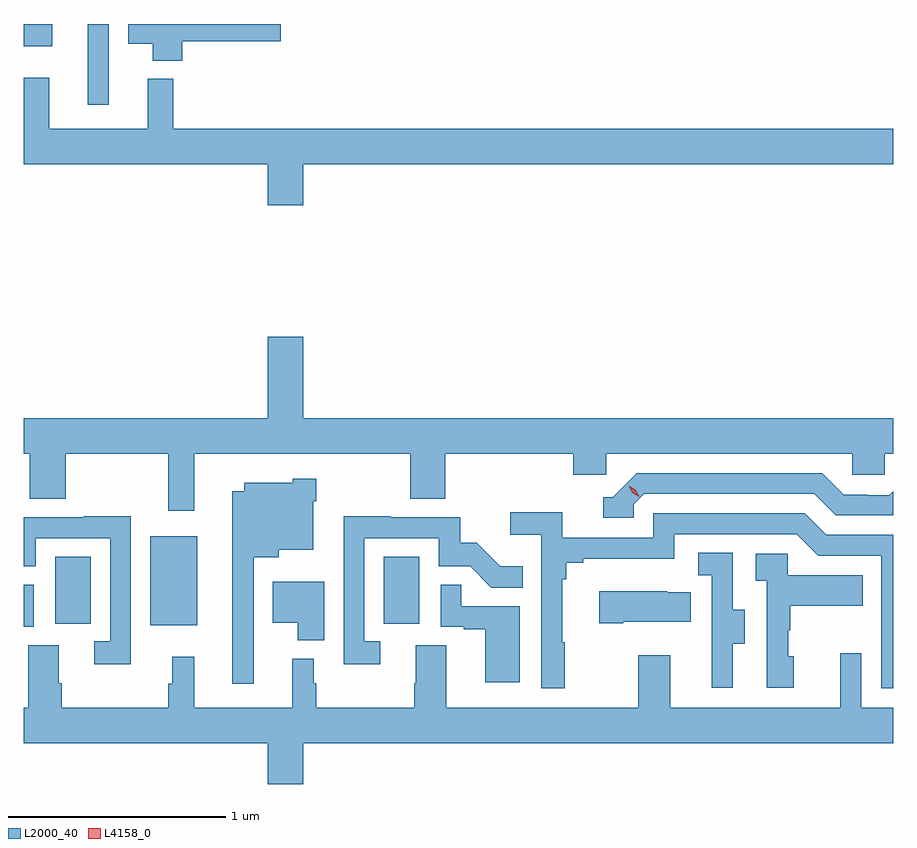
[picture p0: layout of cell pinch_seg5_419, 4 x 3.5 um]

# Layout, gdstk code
import gdstk
lib = gdstk.Library(unit=1e-6, precision=1e-09)
def R(c, l, rs):  # rectangles x0, y0, x1, y1
    for r in rs: c.add(gdstk.rectangle(r[:2], r[2:], *l))
def P(c, l, *ps):  # polygons
    for p in ps: c.add(gdstk.Polygon(p, *l))
L2000_40 = (2000, 40)
L4158_0 = (4158, 0)

pinch_seg5_419 = lib.new_cell('pinch_seg5_419')
R(pinch_seg5_419, L2000_40, [(955.094,859.959,955.14,860.153), (955.676,859.967,955.891,860.377), (955.238,859.974,955.402,860.281), (956.75,859.974,956.914,860.281), (955.388,862.362,955.485,862.733), (955.094,862.631,955.225,862.733)])
P(pinch_seg5_419, L2000_40, [(955.823,862.654),(956.275,862.654),(956.275,862.733),(955.574,862.733),(955.574,862.643),(955.688,862.643),(955.688,862.565),(955.823,862.565)],
  [(956.38,862.088),(959.094,862.088),(959.094,862.252),(955.781,862.252),(955.781,862.48),(955.664,862.48),(955.664,862.252),(955.211,862.252),(955.211,862.486),(955.094,862.486),(955.094,862.088),(956.216,862.088),(956.216,861.9),(956.38,861.9)],
  [(955.878,860.756),(956.872,860.756),(956.872,860.548),(957.032,860.548),(957.032,860.756),(957.623,860.756),(957.623,860.658),(957.774,860.658),(957.774,860.756),(958.905,860.756),(958.905,860.658),(959.055,860.658),(959.055,860.756),(959.094,860.756),(959.094,860.92),(956.38,860.92),(956.38,861.295),(956.216,861.295),(956.216,860.92),(955.094,860.92),(955.094,860.756),(955.121,860.756),(955.121,860.548),(955.286,860.548),(955.286,860.756),(955.759,860.756),(955.759,860.493),(955.878,860.493)],
  [(957.9,860.523),(957.948,860.571),(958.731,860.571),(958.83,860.472),(959.094,860.472),(959.094,860.582),(959.077,860.565),(958.974,860.565),(958.974,860.568),(958.867,860.568),(958.768,860.667),(957.915,860.667),(957.804,860.556),(957.761,860.556),(957.761,860.46),(957.9,860.46)],
  [(956.151,860.279),(956.266,860.279),(956.266,860.315),(956.425,860.315),(956.425,860.537),(956.439,860.537),(956.439,860.641),(956.331,860.641),(956.331,860.623),(956.108,860.623),(956.108,860.584),(956.054,860.584),(956.054,859.698),(956.151,859.698)],
  [(957.583,859.889),(957.571,859.889),(957.571,860.177),(957.59,860.177),(957.59,860.254),(957.667,860.254),(957.667,860.273),(958.086,860.273),(958.086,860.385),(958.65,860.385),(958.749,860.286),(959.04,860.286),(959.04,859.677),(959.094,859.677),(959.094,860.382),(958.786,860.382),(958.687,860.481),(957.99,860.481),(957.99,860.37),(957.572,860.37),(957.572,860.486),(957.333,860.486),(957.333,860.384),(957.474,860.384),(957.474,859.677),(957.583,859.677)],
  [(955.587,860.468),(955.369,860.468),(955.369,860.463),(955.094,860.463),(955.094,860.238),(955.149,860.238),(955.149,860.367),(955.491,860.367),(955.491,859.893),(955.419,859.893),(955.419,859.788),(955.587,859.788)],
  [(956.734,859.893),(956.661,859.893),(956.661,860.367),(957.003,860.367),(957.003,860.238),(957.147,860.238),(957.245,860.14),(957.389,860.14),(957.389,860.239),(957.285,860.239),(957.178,860.346),(957.102,860.346),(957.102,860.463),(956.783,860.463),(956.783,860.468),(956.565,860.468),(956.565,859.788),(956.734,859.788)],
  [(958.357,859.882),(958.411,859.882),(958.411,860.037),(958.356,860.037),(958.356,860.3),(958.197,860.3),(958.197,860.197),(958.26,860.197),(958.26,859.893),(958.259,859.893),(958.259,859.68),(958.357,859.68)],
  [(958.636,859.824),(958.611,859.824),(958.611,859.943),(958.621,859.943),(958.621,860.057),(958.955,860.057),(958.955,860.197),(958.608,860.197),(958.608,860.295),(958.461,860.295),(958.461,860.171),(958.512,860.171),(958.512,859.68),(958.636,859.68)],
  [(956.476,860.167),(956.24,860.167),(956.24,859.979),(956.354,859.979),(956.354,859.898),(956.476,859.898)],
  [(957.376,860.055),(957.107,860.055),(957.107,860.153),(957.012,860.153),(957.012,859.959),(957.119,859.959),(957.119,859.947),(957.218,859.947),(957.218,859.704),(957.376,859.704)],
  [(957.853,859.982),(958.163,859.982),(958.163,860.119),(958.055,860.119),(958.055,860.122),(957.741,860.122),(957.741,859.975),(957.853,859.975)],
  [(955.115,859.874),(955.115,859.588),(955.094,859.588),(955.094,859.424),(956.216,859.424),(956.216,859.236),(956.38,859.236),(956.38,859.424),(959.094,859.424),(959.094,859.588),(958.947,859.588),(958.947,859.837),(958.85,859.837),(958.85,859.588),(958.069,859.588),(958.069,859.828),(957.922,859.828),(957.922,859.588),(957.037,859.588),(957.037,859.874),(956.897,859.874),(956.897,859.7),(956.89,859.7),(956.89,859.588),(956.44,859.588),(956.44,859.7),(956.428,859.7),(956.428,859.813),(956.33,859.813),(956.33,859.588),(955.877,859.588),(955.877,859.822),(955.778,859.822),(955.778,859.697),(955.759,859.697),(955.759,859.588),(955.268,859.588),(955.268,859.7),(955.255,859.7),(955.255,859.874)])
P(pinch_seg5_419, L4158_0, [(957.925,860.558),(957.894,860.577),(957.877,860.609),(957.877,860.609),(957.877,860.609),(957.908,860.59),(957.925,860.558),(957.925,860.558)])

lib.write_gds('pinch_seg5_419.gds')
